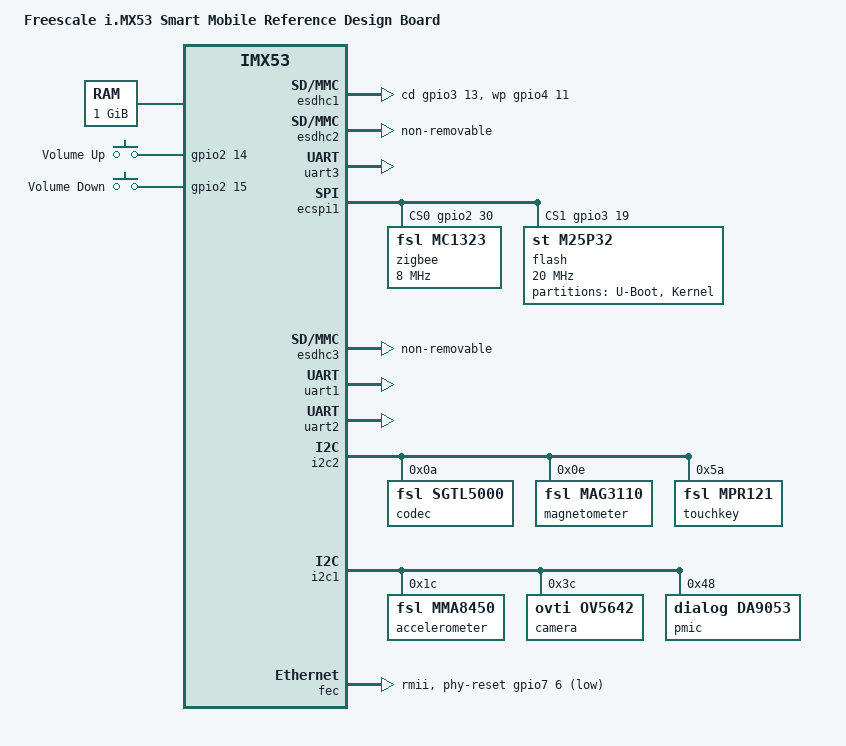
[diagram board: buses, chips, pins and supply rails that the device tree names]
/*
 * Copyright 2011 Freescale Semiconductor, Inc.
 * Copyright 2011 Linaro Ltd.
 *
 * The code contained herein is licensed under the GNU General Public
 * License. You may obtain a copy of the GNU General Public License
 * Version 2 or later at the following locations:
 *
 * http://www.opensource.org/licenses/gpl-license.html
 * http://www.gnu.org/copyleft/gpl.html
 */

/dts-v1/;
#include "imx53.dtsi"

/ {
	model = "Freescale i.MX53 Smart Mobile Reference Design Board";
	compatible = "fsl,imx53-smd", "fsl,imx53";

	memory {
		reg = <0x70000000 0x40000000>;
	};

	gpio-keys {
		compatible = "gpio-keys";

		volume-up {
			label = "Volume Up";
			gpios = <&gpio2 14 0>;
			linux,code = <115>; /* KEY_VOLUMEUP */
		};

		volume-down {
			label = "Volume Down";
			gpios = <&gpio2 15 0>;
			linux,code = <114>; /* KEY_VOLUMEDOWN */
		};
	};
};

&esdhc1 {
	pinctrl-names = "default";
	pinctrl-0 = <&pinctrl_esdhc1>;
	cd-gpios = <&gpio3 13 0>;
	wp-gpios = <&gpio4 11 0>;
	status = "okay";
};

&esdhc2 {
	pinctrl-names = "default";
	pinctrl-0 = <&pinctrl_esdhc2>;
	non-removable;
	status = "okay";
};

&uart3 {
	pinctrl-names = "default";
	pinctrl-0 = <&pinctrl_uart3>;
	fsl,uart-has-rtscts;
	status = "okay";
};

&ecspi1 {
	pinctrl-names = "default";
	pinctrl-0 = <&pinctrl_ecspi1>;
	fsl,spi-num-chipselects = <2>;
	cs-gpios = <&gpio2 30 0>, <&gpio3 19 0>;
	status = "okay";

	zigbee: mc1323@0 {
		compatible = "fsl,mc1323";
		spi-max-frequency = <8000000>;
		reg = <0>;
	};

	flash: m25p32@1 {
		#address-cells = <1>;
		#size-cells = <1>;
		compatible = "st,m25p32", "st,m25p";
		spi-max-frequency = <20000000>;
		reg = <1>;

		partition@0 {
			label = "U-Boot";
			reg = <0x0 0x40000>;
			read-only;
		};

		partition@40000 {
			label = "Kernel";
			reg = <0x40000 0x3c0000>;
		};
	};
};

&esdhc3 {
	pinctrl-names = "default";
	pinctrl-0 = <&pinctrl_esdhc3>;
	non-removable;
	status = "okay";
};

&iomuxc {
	pinctrl-names = "default";
	pinctrl-0 = <&pinctrl_hog>;

	imx53-smd {
		pinctrl_hog: hoggrp {
			fsl,pins = <
				MX53_PAD_PATA_DATA14__GPIO2_14 0x80000000
				MX53_PAD_PATA_DATA15__GPIO2_15 0x80000000
				MX53_PAD_EIM_EB2__GPIO2_30     0x80000000
				MX53_PAD_EIM_DA13__GPIO3_13    0x80000000
				MX53_PAD_EIM_D19__GPIO3_19     0x80000000
				MX53_PAD_KEY_ROW2__GPIO4_11    0x80000000
				MX53_PAD_PATA_DA_0__GPIO7_6    0x80000000
			>;
		};

		pinctrl_ecspi1: ecspi1grp {
			fsl,pins = <MX53_ECSPI1_PINGRP1>;
		};

		pinctrl_esdhc1: esdhc1grp {
			fsl,pins = <MX53_ESDHC1_PINGRP1>;
		};

		pinctrl_esdhc2: esdhc2grp {
			fsl,pins = <MX53_ESDHC2_PINGRP1>;
		};

		pinctrl_esdhc3: esdhc3grp {
			fsl,pins = <MX53_ESDHC3_PINGRP1>;
		};

		pinctrl_fec: fecgrp {
			fsl,pins = <MX53_FEC_PINGRP1>;
		};

		pinctrl_i2c1: i2c1grp {
			fsl,pins = <MX53_I2C1_PINGRP1>;
		};

		pinctrl_i2c2: i2c2grp {
			fsl,pins = <MX53_I2C2_PINGRP1>;
		};

		pinctrl_uart1: uart1grp {
			fsl,pins = <MX53_UART1_PINGRP1>;
		};

		pinctrl_uart2: uart2grp {
			fsl,pins = <MX53_UART2_PINGRP1>;
		};

		pinctrl_uart3: uart3grp {
			fsl,pins = <MX53_UART3_PINGRP1>;
		};
	};
};

&uart1 {
	pinctrl-names = "default";
	pinctrl-0 = <&pinctrl_uart1>;
	status = "okay";
};

&uart2 {
	pinctrl-names = "default";
	pinctrl-0 = <&pinctrl_uart2>;
	status = "okay";
};

&i2c2 {
	pinctrl-names = "default";
	pinctrl-0 = <&pinctrl_i2c2>;
	status = "okay";

	codec: sgtl5000@0a {
		compatible = "fsl,sgtl5000";
		reg = <0x0a>;
	};

	magnetometer: mag3110@0e {
		compatible = "fsl,mag3110";
		reg = <0x0e>;
	};

	touchkey: mpr121@5a {
		compatible = "fsl,mpr121";
		reg = <0x5a>;
	};
};

&i2c1 {
	pinctrl-names = "default";
	pinctrl-0 = <&pinctrl_i2c1>;
	status = "okay";

	accelerometer: mma8450@1c {
		compatible = "fsl,mma8450";
		reg = <0x1c>;
	};

	camera: ov5642@3c {
		compatible = "ovti,ov5642";
		reg = <0x3c>;
	};

	pmic: dialog@48 {
		compatible = "dialog,da9053", "dialog,da9052";
		reg = <0x48>;
	};
};

&fec {
	pinctrl-names = "default";
	pinctrl-0 = <&pinctrl_fec>;
	phy-mode = "rmii";
	phy-reset-gpios = <&gpio7 6 0>;
	status = "okay";
};
